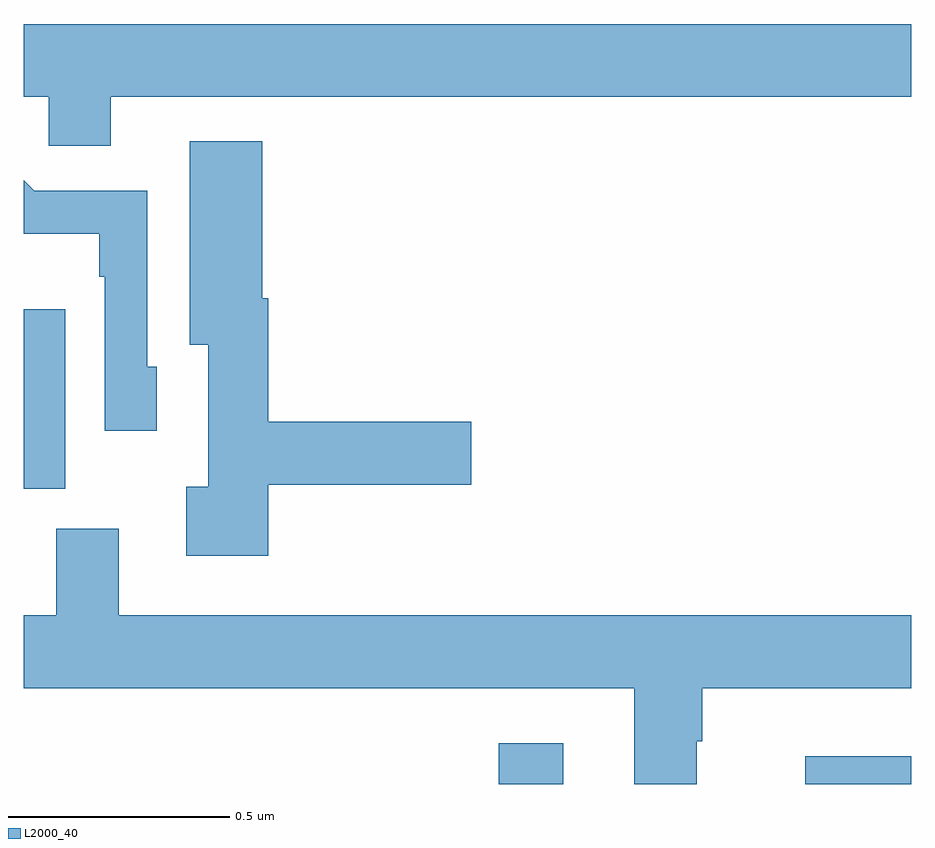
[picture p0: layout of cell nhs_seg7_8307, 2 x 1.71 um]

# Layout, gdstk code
import gdstk
lib = gdstk.Library(unit=1e-6, precision=1e-09)
def R(c, l, rs):  # rectangles x0, y0, x1, y1
    for r in rs: c.add(gdstk.rectangle(r[:2], r[2:], *l))
def P(c, l, *ps):  # polygons
    for p in ps: c.add(gdstk.Polygon(p, *l))
L2000_40 = (2000, 40)

nhs_seg7_8307 = lib.new_cell('nhs_seg7_8307')
R(nhs_seg7_8307, L2000_40, [(223.07,1067,223.216,1067.092), (223.761,1067,224,1067.062), (222,1067.665,222.094,1068.07)])
P(nhs_seg7_8307, L2000_40, [(222.196,1068.548),(224,1068.548),(224,1068.712),(222,1068.712),(222,1068.548),(222.057,1068.548),(222.057,1068.438),(222.196,1068.438)],
  [(222.551,1067.674),(223.009,1067.674),(223.009,1067.816),(222.551,1067.816),(222.551,1068.094),(222.538,1068.094),(222.538,1068.448),(222.374,1068.448),(222.374,1067.99),(222.416,1067.99),(222.416,1067.67),(222.366,1067.67),(222.366,1067.514),(222.551,1067.514)],
  [(222.3,1067.94),(222.279,1067.94),(222.279,1068.336),(222.024,1068.336),(222,1068.36),(222,1068.239),(222.171,1068.239),(222.171,1068.143),(222.183,1068.143),(222.183,1067.796),(222.3,1067.796)],
  [(223.516,1067.096),(223.529,1067.096),(223.529,1067.216),(224,1067.216),(224,1067.38),(222.214,1067.38),(222.214,1067.575),(222.074,1067.575),(222.074,1067.38),(222,1067.38),(222,1067.216),(223.376,1067.216),(223.376,1067),(223.516,1067)])

lib.write_gds('nhs_seg7_8307.gds')
